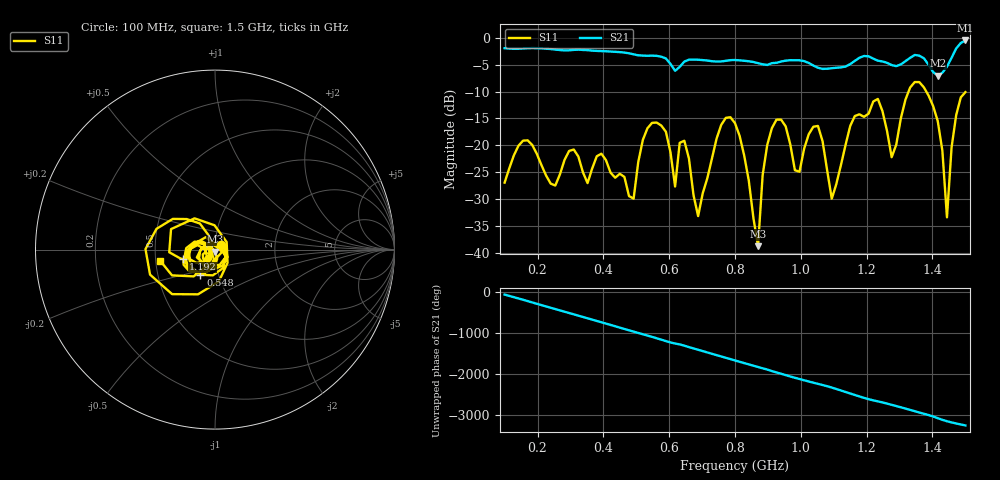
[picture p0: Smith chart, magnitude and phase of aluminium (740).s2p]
! NanoVNA-App
! Date: 2025-09-25 15:01:02
! Start: 100MHz Stop: 1,5GHz Points: 101
! S-Parameter data: F S11 S21 S12 S22
# Hz S RI R 50
!  Frequency  S11_Real  S11_Imag  S21_Real  S21_Imag  S12_Real  S12_Imag  S22_Real  S22_Imag
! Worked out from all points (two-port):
!   101 points, 100 MHz to 1.5 GHz, reference 50 ohm
!   highest |S21| = -0.48 dB at 1.5 GHz (marker M1); lowest = -7.0 dB at 1.416 GHz (marker M2)
!   |S21| within 3 dB of the highest: start of sweep to 573.8 MHz; 1.46 GHz to end of sweep (the widest 2 of 4)
!   lowest |S11| = -38.8 dB at 870 MHz (marker M3), VSWR 1.02, Z = 50 - j1.15 ohm
!   |S11| at or under -10 dB: start of sweep to 1.327 GHz; 1.381 GHz to end of sweep
!   S12 and S22 are empty: the file has one direction only
!   S11 on the Smith chart (normalised r, x): 100 MHz: 1.07, +0.06; 548 MHz: 0.82, -0.24; 1.192 GHz: 0.70, -0.07; 1.5 GHz: 0.53, -0.07
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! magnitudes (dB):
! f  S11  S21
! 100 MHz  -27.0  -1.9
! 156 MHz  -19.1  -2.0
! 338 MHz  -25.0  -2.2
! 492 MHz  -29.9  -3.1
! 548 MHz  -15.8  -3.3
! 576 MHz  -16.3  -3.5
! 618 MHz  -27.7  -6.1
! 646 MHz  -19.2  -4.4
! 688 MHz  -33.2  -4.1
! 800 MHz  -15.9  -4.1
! 870 MHz  -38.8  -4.7
! 912 MHz  -16.8  -4.7
! 996 MHz  -24.9  -4.2
! 1.038 GHz  -16.5  -5.1
! 1.094 GHz  -30.0  -5.6
! 1.192 GHz  -14.7  -3.4
! 1.276 GHz  -22.2  -5.1
! 1.346 GHz  -8.2  -3.2
! 1.416 GHz  -15.5  -7.0
! 1.444 GHz  -33.4  -5.4
! 1.472 GHz  -14.4  -2.0
! 1.5 GHz  -10.1  -0.5
